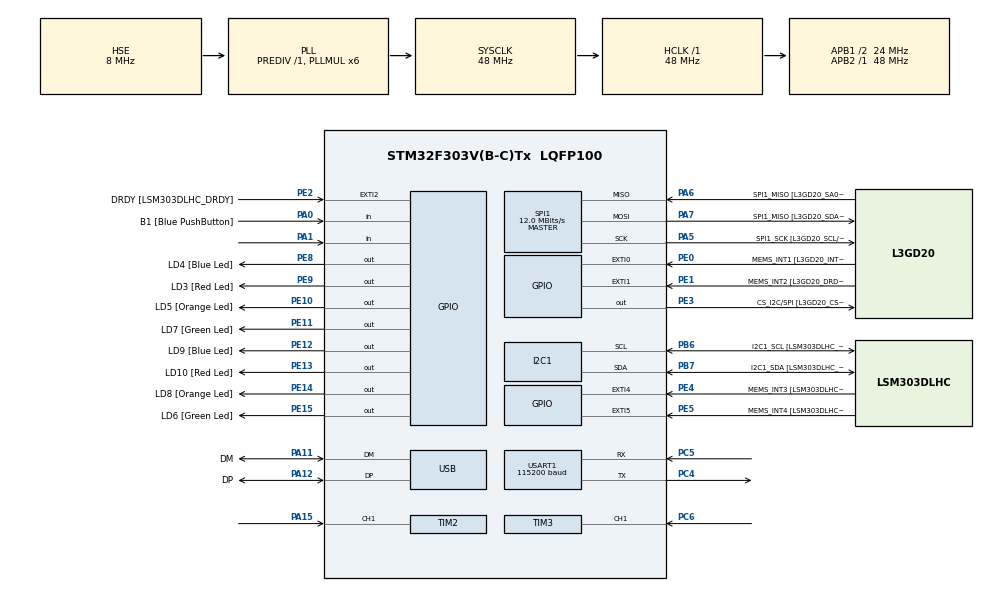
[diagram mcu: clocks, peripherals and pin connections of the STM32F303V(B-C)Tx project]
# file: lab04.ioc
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I2C1.Timing=0x00201D2B
I2C1.Timing-I2C=0x2000090E
Mcu.Family=STM32F3
Mcu.Name=STM32F303V(B-C)Tx
Mcu.Package=LQFP100
NVIC.PriorityGroup=NVIC_PRIORITYGROUP_0
NVIC.TIM2_IRQn=true\:0\:0\:false\:false\:true\:true\:true\:true
NVIC.TIM3_IRQn=true\:0\:0\:false\:false\:true\:true\:true\:true
NVIC.USB_LP_CAN_RX0_IRQn=true\:0\:0\:false\:false\:true\:false\:true\:true
PA0.GPIO_Label=B1 [Blue PushButton]
PA0.Signal=GPIO_Input
PA1.Signal=GPIO_Input
PA11.GPIO_Label=DM
PA11.Mode=Device
PA11.Signal=USB_DM
PA12.GPIO_Label=DP
PA12.Mode=Device
PA12.Signal=USB_DP
PA13.GPIO_Label=SWDIO
PA13.Mode=Serial_Wire
PA13.Signal=SYS_JTMS-SWDIO
PA14.GPIO_Label=SWCLK
PA14.Mode=Serial_Wire
PA14.Signal=SYS_JTCK-SWCLK
PA15.Signal=S_TIM2_CH1_ETR
PA5.GPIO_Label=SPI1_SCK [L3GD20_SCL/SPC]
PA5.Mode=Full_Duplex_Master
PA5.Signal=SPI1_SCK
PA6.GPIO_Label=SPI1_MISO [L3GD20_SA0/SDO]
PA6.Mode=Full_Duplex_Master
PA6.Signal=SPI1_MISO
PA7.GPIO_Label=SPI1_MISO [L3GD20_SDA/SDI/SDO]
PA7.Mode=Full_Duplex_Master
PA7.Signal=SPI1_MOSI
PB3.GPIO_Label=SWO
PB3.Signal=SYS_JTDO-TRACESWO
PB6.GPIO_Label=I2C1_SCL [LSM303DLHC_SCL]
PB6.GPIO_Pu=GPIO_PULLUP
PB6.Mode=I2C
PB6.Signal=I2C1_SCL
PB7.GPIO_Label=I2C1_SDA [LSM303DLHC_SDA]
PB7.GPIO_Pu=GPIO_PULLUP
PB7.Mode=I2C
PB7.Signal=I2C1_SDA
PC14-OSC32_IN.GPIO_Label=OSC32_IN
PC14-OSC32_IN.Signal=RCC_OSC32_IN
PC15-OSC32_OUT.GPIO_Label=OSC32_OUT
PC15-OSC32_OUT.Signal=RCC_OSC32_OUT
PC4.Mode=Asynchronous
PC4.Signal=USART1_TX
PC5.Mode=Asynchronous
PC5.Signal=USART1_RX
PC6.Signal=S_TIM3_CH1
PE0.GPIO_Label=MEMS_INT1 [L3GD20_INT1]
PE0.GPIO_ModeDefaultEXTI=GPIO_MODE_EVT_RISING
PE0.Signal=GPXTI0
PE1.GPIO_Label=MEMS_INT2 [L3GD20_DRDY/INT2]
PE1.GPIO_ModeDefaultEXTI=GPIO_MODE_EVT_RISING
PE1.Signal=GPXTI1
PE10.GPIO_Label=LD5 [Orange Led]
PE10.Signal=GPIO_Output
PE11.GPIO_Label=LD7 [Green Led]
PE11.Signal=GPIO_Output
PE12.GPIO_Label=LD9 [Blue Led]
PE12.Signal=GPIO_Output
PE13.GPIO_Label=LD10 [Red Led]
PE13.Signal=GPIO_Output
PE14.GPIO_Label=LD8 [Orange Led]
PE14.Signal=GPIO_Output
PE15.GPIO_Label=LD6 [Green Led]
PE15.Signal=GPIO_Output
PE2.GPIO_Label=DRDY [LSM303DLHC_DRDY]
PE2.GPIO_ModeDefaultEXTI=GPIO_MODE_EVT_RISING
PE2.Signal=GPXTI2
PE3.GPIO_Label=CS_I2C/SPI [L3GD20_CS_I2C/SPI]
PE3.Signal=GPIO_Output
PE4.GPIO_Label=MEMS_INT3 [LSM303DLHC_INT1]
PE4.GPIO_ModeDefaultEXTI=GPIO_MODE_EVT_RISING
PE4.Signal=GPXTI4
PE5.GPIO_Label=MEMS_INT4 [LSM303DLHC_INT2]
PE5.GPIO_ModeDefaultEXTI=GPIO_MODE_EVT_RISING
PE5.Signal=GPXTI5
PE8.GPIO_Label=LD4 [Blue Led]
PE8.Signal=GPIO_Output
PE9.GPIO_Label=LD3 [Red Led]
PE9.Signal=GPIO_Output
PF0-OSC_IN.GPIO_Label=OSC_IN
PF0-OSC_IN.Mode=HSE-External-Clock-Source
PF0-OSC_IN.Signal=RCC_OSC_IN
PF1-OSC_OUT.GPIO_Label=OSC_OUT
PF1-OSC_OUT.Signal=RCC_OSC_OUT
ProjectManager.HeapSize=0x200
ProjectManager.StackSize=0x400
ProjectManager.TargetToolchain=CMake
RCC.AHBFreq_Value=48000000
RCC.APB1CLKDivider=RCC_HCLK_DIV2
RCC.APB1Freq_Value=24000000
RCC.APB1TimFreq_Value=48000000
RCC.APB2Freq_Value=48000000
RCC.APB2TimFreq_Value=48000000
RCC.CortexFreq_Value=48000000
RCC.HCLKFreq_Value=48000000
RCC.HSE_VALUE=8000000
RCC.HSI_VALUE=8000000
RCC.LSE_VALUE=32768
RCC.PLLMUL=RCC_PLL_MUL6
RCC.SYSCLKFreq_VALUE=48000000
RCC.SYSCLKSourceVirtual=RCC_SYSCLKSOURCE_PLLCLK
RCC.USBFreq_Value=48000000
SH.S_TIM2_CH1_ETR.0=TIM2_CH1,Input_Capture1_from_TI1
SH.S_TIM3_CH1.0=TIM3_CH1,Input_Capture1_from_TI1
SPI1.BaudRatePrescaler=SPI_BAUDRATEPRESCALER_4
SPI1.BaudRatePrescaler-Full_Duplex_Master=SPI_BAUDRATEPRESCALER_2
SPI1.CalculateBaudRate=12.0 MBits/s
SPI1.CalculateBaudRate-Full_Duplex_Master=24.0 MBits/s
SPI1.Direction=SPI_DIRECTION_2LINES
SPI1.Mode=SPI_MODE_MASTER
SPI1.Mode-Full_Duplex_Master=SPI_MODE_MASTER
SPI1.VirtualType=VM_MASTER
TIM2.AutoReloadPreload=TIM_AUTORELOAD_PRELOAD_ENABLE
TIM2.Channel-Input_Capture1_from_TI1=TIM_CHANNEL_1
TIM2.Prescaler=47
TIM3.Channel-Input_Capture1_from_TI1=TIM_CHANNEL_1
TIM3.Prescaler=47
USART1.BaudRate=115200
USART1.VirtualMode-Asynchronous=VM_ASYNC
USB_DEVICE.CLASS_NAME_FS=CDC
USB_DEVICE.VirtualMode=Cdc
USB_DEVICE.VirtualModeFS=Cdc_FS
VP_USB_DEVICE_VS_USB_DEVICE_CDC_FS.Mode=CDC_FS
board=STM32F3DISCOVERY

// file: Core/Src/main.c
/* USER CODE BEGIN Header */
/**
  ******************************************************************************
  * @file           : main.c
  * @brief          : Main program body
  ******************************************************************************
  * @attention
  *
  * Copyright (c) 2026 STMicroelectronics.
  * All rights reserved.
  *
  * This software is licensed under terms that can be found in the LICENSE file
  * in the root directory of this software component.
  * If no LICENSE file comes with this software, it is provided AS-IS.
  *
  ******************************************************************************
  */
/* USER CODE END Header */
#include "main.h"
#include "usb_device.h"

/* USER CODE BEGIN Includes */
#include "stdio.h"
#include "stdarg.h"
#include "string.h"
#include <stdio.h>

/* USER CODE END Includes */

I2C_HandleTypeDef hi2c1;

SPI_HandleTypeDef hspi1;

TIM_HandleTypeDef htim2;
TIM_HandleTypeDef htim3;

UART_HandleTypeDef huart1;

/* USER CODE BEGIN PV */
int a = 0 , b = 0 , c = 0;

/* USER CODE END PV */

void SystemClock_Config(void);
static void MX_GPIO_Init(void);
static void MX_I2C1_Init(void);
static void MX_SPI1_Init(void);
static void MX_USART1_UART_Init(void);
static void MX_TIM2_Init(void);
static void MX_TIM3_Init(void);

/* USER CODE BEGIN 0 */

// ------>> Task 1

void delay_ms ( uint32_t ms){
    __HAL_TIM_SET_COUNTER(&htim2, 0);
    HAL_TIM_Base_Start(&htim2);
    while (__HAL_TIM_GET_COUNTER(&htim2) != ms){}

    HAL_TIM_Base_Stop(&htim2);

  }

// ------>> Task 2

// void HAL_TIM_PeriodElapsedCallback ( TIM_HandleTypeDef *htim) {
//   if (htim -> Instance == TIM2) {
//   HAL_GPIO_TogglePin (GPIOE , 1<<13 );
//   }
// }

// ------>> Task 3

// void HAL_TIM_PeriodElapsedCallback ( TIM_HandleTypeDef *htim) {

//   if (htim -> Instance == TIM2) {
//   a+=1;
//   b+=1;
//   c+=1;
//   if (a == 500){
//     HAL_GPIO_TogglePin (GPIOE , GPIO_PIN_8 );
//     a=0;
//   }
//   if (b == 200){
//     HAL_GPIO_TogglePin (GPIOE , GPIO_PIN_9 );
//     b=0;
//   }
//   if (c == 100){
//     HAL_GPIO_TogglePin (GPIOE , GPIO_PIN_10 );
//     c=0;
//   }
//   }
// }

// ------>> Task 3 end

// ------>> Task 4

int _write(int file, char *ptr, int len) {
    HAL_UART_Transmit(&huart1, (uint8_t*)ptr, len, HAL_MAX_DELAY);
    return len;
}

volatile uint32_t last_capture = 0, period = 0, current_capture = 0;
volatile float frequency = 0;
volatile float ticks = 1000000;

void HAL_TIM_IC_CaptureCallback ( TIM_HandleTypeDef *htim) {
  if (htim -> Channel == HAL_TIM_ACTIVE_CHANNEL_1 ) {

    current_capture = HAL_TIM_ReadCapturedValue (htim ,TIM_CHANNEL_1 );
    period = current_capture - last_capture ;
    last_capture = current_capture ;
    frequency = ticks / period;

  }

}

/* USER CODE END 0 */

int main(void)
{

  /* MCU Configuration--------------------------------------------------------*/

  /* Reset of all peripherals, Initializes the Flash interface and the Systick. */
  HAL_Init();

  /* Configure the system clock */
  SystemClock_Config();

  /* Initialize all configured peripherals */
  MX_GPIO_Init();
  MX_I2C1_Init();
  MX_SPI1_Init();
  MX_USART1_UART_Init();
  MX_USB_DEVICE_Init();
  MX_TIM2_Init();
  MX_TIM3_Init();
  /* USER CODE BEGIN 2 */

  // ------>> Task 2
  // HAL_TIM_Base_Start_IT (& htim2);
  // ------>> Task 2 end

  // Task4:
  HAL_TIM_IC_Start_IT(&htim2, TIM_CHANNEL_1);

  /* USER CODE END 2 */

  /* Infinite loop */
  /* USER CODE BEGIN WHILE */
  while (1){

  // TASK-1

  //   HAL_GPIO_TogglePin(GPIOE, 1<<13  );
  //   HAL_Delay(1000);
  // ------>> Task 1 end

    /* USER CODE END WHILE */

    /* USER CODE BEGIN 3 */

  // task 4

  printf("Frequency: %.2f Hz\r\n", frequency);
  printf("Period: %lu us\r\n", period);

}
  /* USER CODE END 3 */
}

void SystemClock_Config(void)
{
  RCC_OscInitTypeDef RCC_OscInitStruct = {0};
  RCC_ClkInitTypeDef RCC_ClkInitStruct = {0};
  RCC_PeriphCLKInitTypeDef PeriphClkInit = {0};

  /** Initializes the RCC Oscillators according to the specified parameters
  * in the RCC_OscInitTypeDef structure.
  */
  RCC_OscInitStruct.OscillatorType = RCC_OSCILLATORTYPE_HSI|RCC_OSCILLATORTYPE_HSE;
  RCC_OscInitStruct.HSEState = RCC_HSE_BYPASS;
  RCC_OscInitStruct.HSEPredivValue = RCC_HSE_PREDIV_DIV1;
  RCC_OscInitStruct.HSIState = RCC_HSI_ON;
  RCC_OscInitStruct.HSICalibrationValue = RCC_HSICALIBRATION_DEFAULT;
  RCC_OscInitStruct.PLL.PLLState = RCC_PLL_ON;
  RCC_OscInitStruct.PLL.PLLSource = RCC_PLLSOURCE_HSE;
  RCC_OscInitStruct.PLL.PLLMUL = RCC_PLL_MUL6;
  if (HAL_RCC_OscConfig(&RCC_OscInitStruct) != HAL_OK)
  {
    Error_Handler();
  }

  /** Initializes the CPU, AHB and APB buses clocks
  */
  RCC_ClkInitStruct.ClockType = RCC_CLOCKTYPE_HCLK|RCC_CLOCKTYPE_SYSCLK
                              |RCC_CLOCKTYPE_PCLK1|RCC_CLOCKTYPE_PCLK2;
  RCC_ClkInitStruct.SYSCLKSource = RCC_SYSCLKSOURCE_PLLCLK;
  RCC_ClkInitStruct.AHBCLKDivider = RCC_SYSCLK_DIV1;
  RCC_ClkInitStruct.APB1CLKDivider = RCC_HCLK_DIV2;
  RCC_ClkInitStruct.APB2CLKDivider = RCC_HCLK_DIV1;

  if (HAL_RCC_ClockConfig(&RCC_ClkInitStruct, FLASH_LATENCY_1) != HAL_OK)
  {
    Error_Handler();
  }
  PeriphClkInit.PeriphClockSelection = RCC_PERIPHCLK_USB|RCC_PERIPHCLK_USART1
                              |RCC_PERIPHCLK_I2C1;
  PeriphClkInit.Usart1ClockSelection = RCC_USART1CLKSOURCE_PCLK2;
  PeriphClkInit.I2c1ClockSelection = RCC_I2C1CLKSOURCE_HSI;
  PeriphClkInit.USBClockSelection = RCC_USBCLKSOURCE_PLL;
  if (HAL_RCCEx_PeriphCLKConfig(&PeriphClkInit) != HAL_OK)
  {
    Error_Handler();
  }
}

static void MX_I2C1_Init(void)
{

  hi2c1.Instance = I2C1;
  hi2c1.Init.Timing = 0x00201D2B;
  hi2c1.Init.OwnAddress1 = 0;
  hi2c1.Init.AddressingMode = I2C_ADDRESSINGMODE_7BIT;
  hi2c1.Init.DualAddressMode = I2C_DUALADDRESS_DISABLE;
  hi2c1.Init.OwnAddress2 = 0;
  hi2c1.Init.OwnAddress2Masks = I2C_OA2_NOMASK;
  hi2c1.Init.GeneralCallMode = I2C_GENERALCALL_DISABLE;
  hi2c1.Init.NoStretchMode = I2C_NOSTRETCH_DISABLE;
  if (HAL_I2C_Init(&hi2c1) != HAL_OK)
  {
    Error_Handler();
  }

  /** Configure Analogue filter
  */
  if (HAL_I2CEx_ConfigAnalogFilter(&hi2c1, I2C_ANALOGFILTER_ENABLE) != HAL_OK)
  {
    Error_Handler();
  }

  /** Configure Digital filter
  */
  if (HAL_I2CEx_ConfigDigitalFilter(&hi2c1, 0) != HAL_OK)
  {
    Error_Handler();
  }

}

static void MX_SPI1_Init(void)
{

  /* SPI1 parameter configuration*/
  hspi1.Instance = SPI1;
  hspi1.Init.Mode = SPI_MODE_MASTER;
  hspi1.Init.Direction = SPI_DIRECTION_2LINES;
  hspi1.Init.DataSize = SPI_DATASIZE_4BIT;
  hspi1.Init.CLKPolarity = SPI_POLARITY_LOW;
  hspi1.Init.CLKPhase = SPI_PHASE_1EDGE;
  hspi1.Init.NSS = SPI_NSS_SOFT;
  hspi1.Init.BaudRatePrescaler = SPI_BAUDRATEPRESCALER_4;
  hspi1.Init.FirstBit = SPI_FIRSTBIT_MSB;
  hspi1.Init.TIMode = SPI_TIMODE_DISABLE;
  hspi1.Init.CRCCalculation = SPI_CRCCALCULATION_DISABLE;
  hspi1.Init.CRCPolynomial = 7;
  hspi1.Init.CRCLength = SPI_CRC_LENGTH_DATASIZE;
  hspi1.Init.NSSPMode = SPI_NSS_PULSE_ENABLE;
  if (HAL_SPI_Init(&hspi1) != HAL_OK)
  {
    Error_Handler();
  }

}

static void MX_TIM2_Init(void)
{

  TIM_MasterConfigTypeDef sMasterConfig = {0};
  TIM_IC_InitTypeDef sConfigIC = {0};

  htim2.Instance = TIM2;
  htim2.Init.Prescaler = 47;
  htim2.Init.CounterMode = TIM_COUNTERMODE_UP;
  htim2.Init.Period = 4294967295;
  htim2.Init.ClockDivision = TIM_CLOCKDIVISION_DIV1;
  htim2.Init.AutoReloadPreload = TIM_AUTORELOAD_PRELOAD_ENABLE;
  if (HAL_TIM_IC_Init(&htim2) != HAL_OK)
  {
    Error_Handler();
  }
  sMasterConfig.MasterOutputTrigger = TIM_TRGO_RESET;
  sMasterConfig.MasterSlaveMode = TIM_MASTERSLAVEMODE_DISABLE;
  if (HAL_TIMEx_MasterConfigSynchronization(&htim2, &sMasterConfig) != HAL_OK)
  {
    Error_Handler();
  }
  sConfigIC.ICPolarity = TIM_INPUTCHANNELPOLARITY_RISING;
  sConfigIC.ICSelection = TIM_ICSELECTION_DIRECTTI;
  sConfigIC.ICPrescaler = TIM_ICPSC_DIV1;
  sConfigIC.ICFilter = 0;
  if (HAL_TIM_IC_ConfigChannel(&htim2, &sConfigIC, TIM_CHANNEL_1) != HAL_OK)
  {
    Error_Handler();
  }

}

static void MX_TIM3_Init(void)
{

  TIM_MasterConfigTypeDef sMasterConfig = {0};
  TIM_IC_InitTypeDef sConfigIC = {0};

  htim3.Instance = TIM3;
  htim3.Init.Prescaler = 47;
  htim3.Init.CounterMode = TIM_COUNTERMODE_UP;
  htim3.Init.Period = 65535;
  htim3.Init.ClockDivision = TIM_CLOCKDIVISION_DIV1;
  htim3.Init.AutoReloadPreload = TIM_AUTORELOAD_PRELOAD_DISABLE;
  if (HAL_TIM_IC_Init(&htim3) != HAL_OK)
  {
    Error_Handler();
  }
  sMasterConfig.MasterOutputTrigger = TIM_TRGO_RESET;
  sMasterConfig.MasterSlaveMode = TIM_MASTERSLAVEMODE_DISABLE;
  if (HAL_TIMEx_MasterConfigSynchronization(&htim3, &sMasterConfig) != HAL_OK)
  {
    Error_Handler();
  }
  sConfigIC.ICPolarity = TIM_INPUTCHANNELPOLARITY_RISING;
  sConfigIC.ICSelection = TIM_ICSELECTION_DIRECTTI;
  sConfigIC.ICPrescaler = TIM_ICPSC_DIV1;
  sConfigIC.ICFilter = 0;
  if (HAL_TIM_IC_ConfigChannel(&htim3, &sConfigIC, TIM_CHANNEL_1) != HAL_OK)
  {
    Error_Handler();
  }

}

static void MX_USART1_UART_Init(void)
{

  huart1.Instance = USART1;
  huart1.Init.BaudRate = 115200;
  huart1.Init.WordLength = UART_WORDLENGTH_8B;
  huart1.Init.StopBits = UART_STOPBITS_1;
  huart1.Init.Parity = UART_PARITY_NONE;
  huart1.Init.Mode = UART_MODE_TX_RX;
  huart1.Init.HwFlowCtl = UART_HWCONTROL_NONE;
  huart1.Init.OverSampling = UART_OVERSAMPLING_16;
  huart1.Init.OneBitSampling = UART_ONE_BIT_SAMPLE_DISABLE;
  huart1.AdvancedInit.AdvFeatureInit = UART_ADVFEATURE_NO_INIT;
  if (HAL_UART_Init(&huart1) != HAL_OK)
  {
    Error_Handler();
  }

}

static void MX_GPIO_Init(void)
{
  GPIO_InitTypeDef GPIO_InitStruct = {0};

  /* GPIO Ports Clock Enable */
  __HAL_RCC_GPIOE_CLK_ENABLE();
  __HAL_RCC_GPIOC_CLK_ENABLE();
  __HAL_RCC_GPIOF_CLK_ENABLE();
  __HAL_RCC_GPIOA_CLK_ENABLE();
  __HAL_RCC_GPIOB_CLK_ENABLE();

  /*Configure GPIO pin Output Level */
  HAL_GPIO_WritePin(GPIOE, CS_I2C_SPI_Pin|LD4_Pin|LD3_Pin|LD5_Pin
                          |LD7_Pin|LD9_Pin|LD10_Pin|LD8_Pin
                          |LD6_Pin, GPIO_PIN_RESET);

  /*Configure GPIO pins : DRDY_Pin MEMS_INT3_Pin MEMS_INT4_Pin MEMS_INT1_Pin
                           MEMS_INT2_Pin */
  GPIO_InitStruct.Pin = DRDY_Pin|MEMS_INT3_Pin|MEMS_INT4_Pin|MEMS_INT1_Pin
                          |MEMS_INT2_Pin;
  GPIO_InitStruct.Mode = GPIO_MODE_EVT_RISING;
  GPIO_InitStruct.Pull = GPIO_NOPULL;
  HAL_GPIO_Init(GPIOE, &GPIO_InitStruct);

  /*Configure GPIO pins : CS_I2C_SPI_Pin LD4_Pin LD3_Pin LD5_Pin
                           LD7_Pin LD9_Pin LD10_Pin LD8_Pin
                           LD6_Pin */
  GPIO_InitStruct.Pin = CS_I2C_SPI_Pin|LD4_Pin|LD3_Pin|LD5_Pin
                          |LD7_Pin|LD9_Pin|LD10_Pin|LD8_Pin
                          |LD6_Pin;
  GPIO_InitStruct.Mode = GPIO_MODE_OUTPUT_PP;
  GPIO_InitStruct.Pull = GPIO_NOPULL;
  GPIO_InitStruct.Speed = GPIO_SPEED_FREQ_LOW;
  HAL_GPIO_Init(GPIOE, &GPIO_InitStruct);

  /*Configure GPIO pins : B1_Pin PA1 */
  GPIO_InitStruct.Pin = B1_Pin|GPIO_PIN_1;
  GPIO_InitStruct.Mode = GPIO_MODE_INPUT;
  GPIO_InitStruct.Pull = GPIO_NOPULL;
  HAL_GPIO_Init(GPIOA, &GPIO_InitStruct);

}

void Error_Handler(void)
{
  __disable_irq();
  while (1)
  {
  }
}
